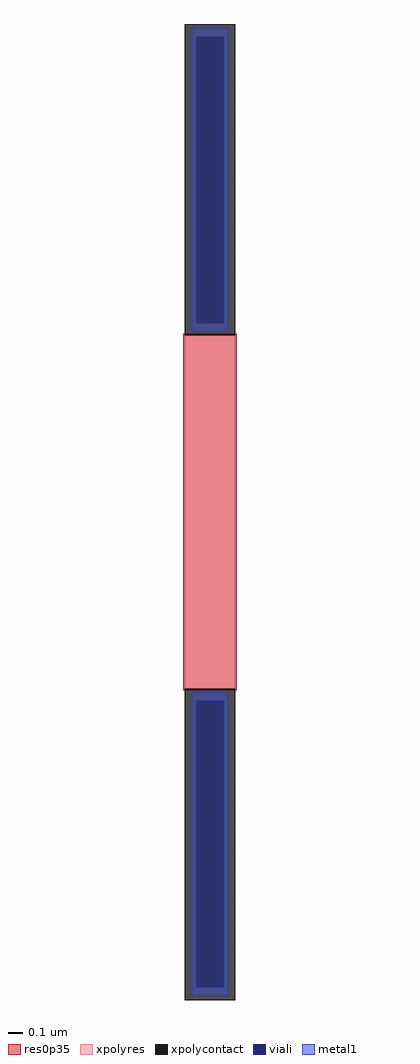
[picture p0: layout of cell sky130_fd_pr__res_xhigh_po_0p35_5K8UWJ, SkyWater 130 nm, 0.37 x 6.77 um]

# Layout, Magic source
magic
tech sky130A
magscale 1 2
<< xpolycontact >>
rect -35 245 35 677
rect -35 -677 35 -245
<< xpolyres >>
rect -35 -245 35 245
<< viali >>
rect -19 262 19 659
rect -19 -659 19 -262
<< metal1 >>
rect -25 659 25 671
rect -25 262 -19 659
rect 19 262 25 659
rect -25 250 25 262
rect -25 -262 25 -250
rect -25 -659 -19 -262
rect 19 -659 25 -262
rect -25 -671 25 -659
<< res0p35 >>
rect -37 -247 37 247
<< properties >>
string gencell sky130_fd_pr__res_xhigh_po_0p35
string parameters w 0.350 l 2.454 m 1 nx 1 wmin 0.350 lmin 0.50 rho 2000 val 14.132k dummy 0 dw 0.0 term 19.188 sterm 0.0 caplen 0 wmax 0.350 guard 0 glc 1 grc 1 gtc 1 gbc 1 compatible {sky130_fd_pr__res_xhigh_po_0p35  sky130_fd_pr__res_xhigh_po_0p69 sky130_fd_pr__res_xhigh_po_1p41  sky130_fd_pr__res_xhigh_po_2p85 sky130_fd_pr__res_xhigh_po_5p73} full_metal 1 n_guard 0 hv_guard 0 vias 1 viagb 0 viagt 0 viagl 0 viagr 0
string library sky130
<< end >>
